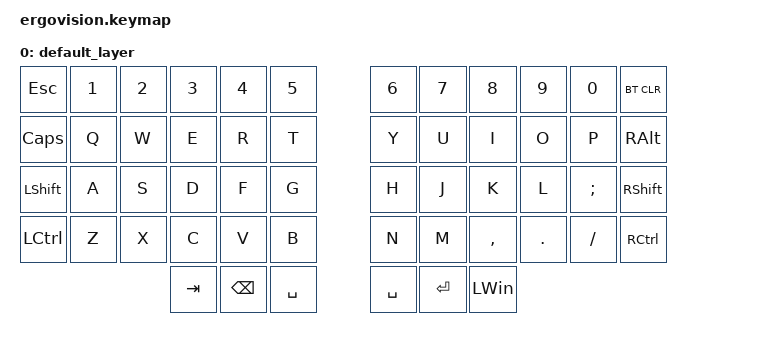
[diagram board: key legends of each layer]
/*
 * Copyright (c) 2020 ZMK Contributors
 *
 * SPDX-License-Identifier: MIT
 */

#include <behaviors.dtsi>
#include <dt-bindings/zmk/keys.h>
#include <dt-bindings/zmk/bt.h>
#include <behaviors/mouse_move.dtsi>
#include <dt-bindings/zmk/mouse.h>
#include <dt-bindings/zmk/outputs.h>
#include <behaviors/mouse_keys.dtsi>
//#define ZMK_MOUSE_DEFAULT_MOVE_VAL 1500  // 600
//#define ZMK_MOUSE_DEFAULT_SCRL_VAL 20    // 10

#define DEF 0;
#define MSK 1;

/ {
    keymap {
        compatible = "zmk,keymap";

        default_layer {
            bindings = <
                &kp ESC      &kp N1     &kp N2     &kp N3     &kp N4     &kp N5                   &kp N6     &kp N7     &kp N8     &kp N9     &kp N0     &bt BT_CLR
                &kp CAPSLOCK &kp Q      &kp W      &kp E      &kp R      &kp T                    &kp Y      &kp U      &kp I      &kp O      &kp P      &kp RALT
                &kp LSHIFT   &kp A      &kp S      &kp D      &kp F      &kp G                    &kp H      &kp J      &kp K      &kp L      &kp SEMI   &kp RSHIFT
                &kp LCTRL    &kp Z      &kp X      &kp C      &kp V      &kp B                    &kp N      &kp M      &kp COMMA  &kp DOT    &kp SLASH  &kp RCTRL
                                                   &kp TAB    &kp BSPC   &kp SPACE                &kp SPACE   &kp ENTER &kp LEFT_WIN
            >;
        };
    };
};

/ {
    /* Input behavior for mouse movement mode */
    tb0_mmv_ibl {
        compatible = "zmk,input-behavior-listener";
        device = <&glidepoint0>;   // Left side trackpad
        layers = <0 1>;
        evt-type = <INPUT_EV_REL>;
        x-input-code = <INPUT_REL_X>;
        y-input-code = <INPUT_REL_Y>;
        scale-multiplier = <1>;
        scale-divisor = <1>;
        bindings = <&ib_tog_layer 1>;
        rotate-deg = <0>;
    };

    /* Input behavior for mouse movement on the right side */
    tb1_mmv_ibl {
        compatible = "zmk,input-behavior-listener";
        device = <&glidepoint1>;  // Right side trackpad
        layers = <0 1>;
        evt-type = <INPUT_EV_REL>;
        x-input-code = <INPUT_REL_X>;
        y-input-code = <INPUT_REL_Y>;
        scale-multiplier = <1>;
        scale-divisor = <1>;
        bindings = <&ib_tog_layer 1>;
        rotate-deg = <0>;
    };

    /* Adjust cooldown waiting period for mouse key layer (MSK) */
    ib_tog_layer: ib_tog_layer {
        compatible = "zmk,input-behavior-tog-layer";
        #binding-cells = <1>;
        time-to-live-ms = <1000>;
    };
};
